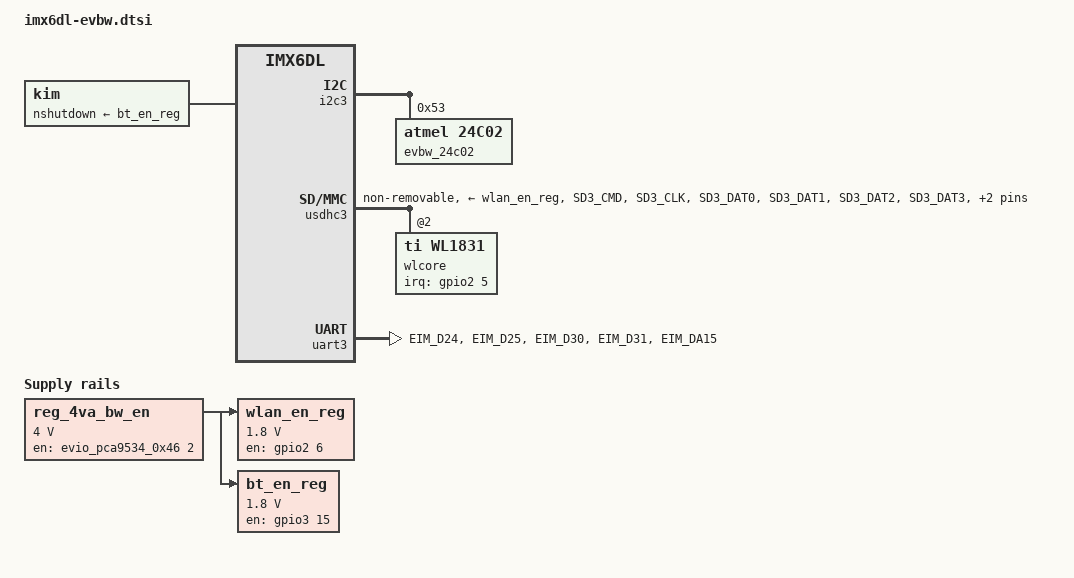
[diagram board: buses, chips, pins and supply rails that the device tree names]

/*
 * Copyright 2015 FLIR Systems.
 *
 * The code contained herein is licensed under the GNU General Public
 * License. You may obtain a copy of the GNU General Public License
 * Version 2 or later at the following locations:
 *
 * http://www.opensource.org/licenses/gpl-license.html
 * http://www.gnu.org/copyleft/gpl.html
 */

/ {
	regulators {
		compatible = "simple-bus";

		reg_4va_bw_en: reg_4va_bw_en {
			compatible = "regulator-fixed";
			regulator-name = "4VA_BW";
			regulator-min-microvolt = <4000000>;
			regulator-max-microvolt = <4000000>;
			gpio = <&evio_pca9534_0x46 2 GPIO_ACTIVE_HIGH>;
//			gpio = <&leif_pca9534_0x46 7 GPIO_ACTIVE_HIGH>;
			startup-delay-us = <10000>;
			enable-active-high;
		};

		wlan_en_reg: wlan_en_reg {
			compatible = "regulator-fixed";
			regulator-name = "wlan-en";
			regulator-min-microvolt = <1800000>;
			regulator-max-microvolt = <1800000>;
			gpio = <&gpio2 6 GPIO_ACTIVE_HIGH>;
			startup-delay-us = <70000>;
			enable-active-high;
			vin-supply = <&reg_4va_bw_en>;
		};

		bt_en_reg: bt_en_reg {
			compatible = "regulator-fixed";
			regulator-name = "bt-en";
			regulator-min-microvolt = <1800000>;
			regulator-max-microvolt = <1800000>;
			gpio = <&gpio3 15 GPIO_ACTIVE_HIGH>;
			startup-delay-us = <70000>;
			enable-active-high;
			vin-supply = <&reg_4va_bw_en>;
		};
	};

	kim {
		compatible = "kim";
		nshutdown-supply = <&bt_en_reg>;
		dev_name = "/dev/ttymxc2";
		flow_cntrl = <1>;
		baud_rate = <3000000>;
	};
 
	btwilink {
		compatible = "btwilink";
	};
};

/* EEPROM */
&i2c3 {

	evbw_24c02: evbw_24c02@53 {
		compatible = "atmel,24c02";
		reg = <0x53>;
		pagesize = <16>;
	};

};

/* Wi-Fi */
&usdhc3 {
	pinctrl-names = "default", "sleep";
	pinctrl-0 = <&pinctrl_usdhc3>;
	pinctrl-1 = <&pinctrl_usdhc3_sleep>;
	vmmc-supply = <&wlan_en_reg>;
	non-removable;
	no-1-8-v;
	keep-power-in-suspend;
	max-frequency = <25000000>;
	status = "okay";
	#address-cells = <1>;
	#size-cells = <0>;

	wlcore: wlcore@3 {
		compatible = "ti,wl1831";
		reg = <2>;
		interrupt-parent = <&gpio2>;
		interrupts = <5 IRQ_TYPE_LEVEL_HIGH>;
		platform-quirks = <1>;
		tcxo-clock-frequency = <26000000>;
		ref-clock-frequency = <26000000>;
	};
};

/* Bluetooth */
&uart3 {
	pinctrl-names = "default", "sleep";
	pinctrl-0 = <&pinctrl_uart3>;
	pinctrl-1 = <&pinctrl_uart3_sleep>;
	fsl,uart-has-rtscts;
	status = "okay";
};

/* Iomux */
&iomuxc {

	imx6dl-evbw {
		pinctrl_usdhc3: usdhc3grp {
			fsl,pins = <
				/* Use 22 kohm pull up on SD signals */
				MX6QDL_PAD_SD3_CMD__SD3_CMD		0x1f020
				MX6QDL_PAD_SD3_CLK__SD3_CLK		0x10020
				MX6QDL_PAD_SD3_DAT0__SD3_DATA0		0x1f020
				MX6QDL_PAD_SD3_DAT1__SD3_DATA1		0x1f020
				MX6QDL_PAD_SD3_DAT2__SD3_DATA2		0x1f020
				MX6QDL_PAD_SD3_DAT3__SD3_DATA3		0x1f020
				MX6QDL_PAD_NANDF_D6__GPIO2_IO06		0x10
				MX6QDL_PAD_NANDF_D5__GPIO2_IO05		0x1b010
			>;
		};

		pinctrl_usdhc3_sleep: usdhc3grpsleep {
			fsl,pins = <
				// 100 kOhm pull down GPIO input
				MX6QDL_PAD_SD3_CMD__GPIO7_IO02		0x3010
				MX6QDL_PAD_SD3_CLK__GPIO7_IO03		0x3010
				MX6QDL_PAD_SD3_DAT0__GPIO7_IO04		0x3010
				MX6QDL_PAD_SD3_DAT1__GPIO7_IO05		0x3010
				MX6QDL_PAD_SD3_DAT2__GPIO7_IO06		0x3010
				MX6QDL_PAD_SD3_DAT3__GPIO7_IO07		0x3010
				MX6QDL_PAD_NANDF_D5__GPIO2_IO05		0x3010
			>;
		};

		pinctrl_uart3: uart3grp {
			fsl,pins = <
				MX6QDL_PAD_EIM_D24__UART3_TX_DATA	0x1b0b1
				MX6QDL_PAD_EIM_D25__UART3_RX_DATA	0x1b0b1
				MX6QDL_PAD_EIM_D30__UART3_CTS_B		0x1b0b1
				MX6QDL_PAD_EIM_D31__UART3_RTS_B		0x1b0b1
				MX6QDL_PAD_EIM_DA15__GPIO3_IO15		0x10
			>;
		};

		pinctrl_uart3_sleep: uart3grpsleep {
			fsl,pins = <
				// 100 kOhm pull down GPIO input
				MX6QDL_PAD_EIM_D24__GPIO3_IO24		0x3010
				MX6QDL_PAD_EIM_D25__GPIO3_IO25		0x3010
				MX6QDL_PAD_EIM_D30__GPIO3_IO30		0x3010
				MX6QDL_PAD_EIM_D31__GPIO3_IO31		0x3010
			>;
		};
	};
};
